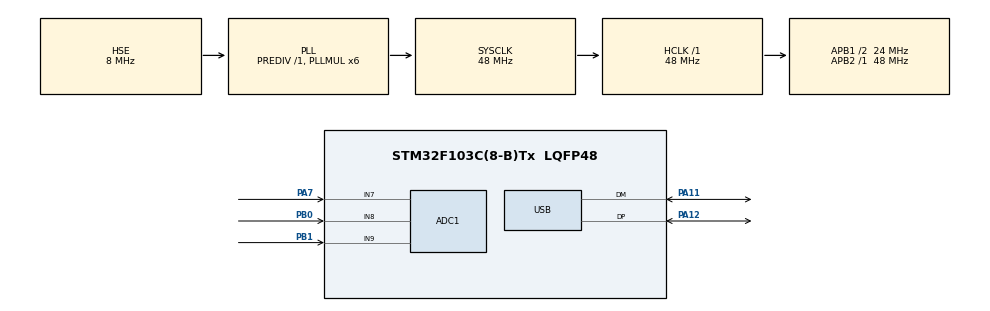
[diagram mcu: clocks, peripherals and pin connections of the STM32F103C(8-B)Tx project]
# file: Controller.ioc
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Mcu.Family=STM32F1
USB_DEVICE.CLASS_NAME_FS=HID
Dma.ADC1.0.Instance=DMA1_Channel1
ADC1.Rank-0\#ChannelRegularConversion=1
PD1-OSC_OUT.Mode=HSE-External-Oscillator
ADC1.ContinuousConvMode=ENABLE
USB_DEVICE.VirtualModeFS=Hid_FS
PA11.Mode=Device
PD0-OSC_IN.Signal=RCC_OSC_IN
RCC.APB1CLKDivider=RCC_HCLK_DIV2
ADC1.SamplingTime-2\#ChannelRegularConversion=ADC_SAMPLETIME_55CYCLES_5
RCC.SYSCLKSource=RCC_SYSCLKSOURCE_PLLCLK
ProjectManager.StackSize=0x400
PD1-OSC_OUT.Signal=RCC_OSC_OUT
RCC.ADCPresc=RCC_ADCPCLK2_DIV4
PA13.Signal=SYS_JTMS-SWDIO
Dma.ADC1.0.PeriphDataAlignment=DMA_PDATAALIGN_WORD
PA12.Signal=USB_DP
ProjectManager.TargetToolchain=STM32CubeIDE
Dma.ADC1.0.Mode=DMA_CIRCULAR
SH.ADCx_IN7.0=ADC1_IN7,IN7
RCC.HCLKFreq_Value=48000000
Dma.ADC1.0.Priority=DMA_PRIORITY_MEDIUM
RCC.APB2TimFreq_Value=48000000
ADC1.Channel-1\#ChannelRegularConversion=ADC_CHANNEL_8
Dma.ADC1.0.Direction=DMA_PERIPH_TO_MEMORY
ADC1.Channel-2\#ChannelRegularConversion=ADC_CHANNEL_9
RCC.USBFreq_Value=48000000
Dma.ADC1.0.MemDataAlignment=DMA_MDATAALIGN_WORD
RCC.AHBFreq_Value=48000000
PD0-OSC_IN.Mode=HSE-External-Oscillator
ADC1.Channel-0\#ChannelRegularConversion=ADC_CHANNEL_7
board=custom
RCC.PLLMUL=RCC_PLL_MUL6
VP_USB_DEVICE_VS_USB_DEVICE_HID_FS.Mode=HID_FS
RCC.APB2Freq_Value=48000000
ADC1.Rank-2\#ChannelRegularConversion=3
PA14.Mode=Serial_Wire
Dma.ADC1.0.PeriphInc=DMA_PINC_DISABLE
NVIC.USB_LP_CAN1_RX0_IRQn=true\:0\:0\:false\:false\:true\:false\:true
SH.ADCx_IN8.0=ADC1_IN8,IN8
ADC1.NbrOfConversion=3
PA13.Mode=Serial_Wire
Mcu.Name=STM32F103C(8-B)Tx
ADC1.SamplingTime-0\#ChannelRegularConversion=ADC_SAMPLETIME_55CYCLES_5
ADC1.SamplingTime-1\#ChannelRegularConversion=ADC_SAMPLETIME_55CYCLES_5
RCC.SYSCLKFreq_VALUE=48000000
Mcu.Package=LQFP48
PB1.Signal=ADCx_IN9
ADC1.master=1
PA12.Mode=Device
ADC1.Rank-1\#ChannelRegularConversion=2
PA11.Signal=USB_DM
PA14.Signal=SYS_JTCK-SWCLK
Dma.ADC1.0.MemInc=DMA_MINC_ENABLE
ProjectManager.HeapSize=0x200
SH.ADCx_IN9.0=ADC1_IN9,IN9
NVIC.PriorityGroup=NVIC_PRIORITYGROUP_4
ADC1.NbrOfConversionFlag=1
RCC.APB1TimFreq_Value=48000000
NVIC.DMA1_Channel1_IRQn=true\:0\:0\:false\:false\:true\:false\:true
Dma.Request0=ADC1
RCC.APB1Freq_Value=24000000
PB0.Signal=ADCx_IN8
USB_DEVICE.VirtualMode=Hid
PA7.Signal=ADCx_IN7

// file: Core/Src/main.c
/* USER CODE BEGIN Header */
/**
  ******************************************************************************
  * @file           : main.c
  * @brief          : Main program body
  ******************************************************************************
  * @attention
  *
  * <h2><center>&copy; Copyright (c) 2021 STMicroelectronics.
  * All rights reserved.</center></h2>
  *
  * This software component is licensed by ST under BSD 3-Clause license,
  * the "License"; You may not use this file except in compliance with the
  * License. You may obtain a copy of the License at:
  *                        opensource.org/licenses/BSD-3-Clause
  *
  ******************************************************************************
  */
/* USER CODE END Header */
#include "main.h"
#include "usb_device.h"
#include "usbd_hid.h"

ADC_HandleTypeDef hadc1;
DMA_HandleTypeDef hdma_adc1;

/* USER CODE BEGIN PV */
uint32_t adc_buffer[3];
uint32_t data[3];
extern USBD_HandleTypeDef hUsbDeviceFS;

struct gameHID_t {
	int8_t JoyX; 	// X 1 byte, signed value
	int8_t JoyY; 	// Y 1 byte, signed value
    int8_t JoyZ; 	// Y 1 byte, signed value
    int8_t JoyRx; 	// Y 1 byte, signed value
    int8_t JoyRy; 	// Y 1 byte, signed value
    int8_t JoyRz; 	// Y 1 byte, signed value
   };
struct gameHID_t gameHID;
/* USER CODE END PV */

void SystemClock_Config(void);
static void MX_GPIO_Init(void);
static void MX_DMA_Init(void);
static void MX_ADC1_Init(void);

/* USER CODE BEGIN 0 */
void HAL_ADC_ConvCpltCallback(ADC_HandleTypeDef* hadc)
{
	if(hadc->Instance == ADC1)
	{
		data[0] = adc_buffer[0];
		data[1] = adc_buffer[1];
		data[2] = adc_buffer[2];
	}
}
/* USER CODE END 0 */

int main(void)
{
  /* USER CODE BEGIN 1 */

  gameHID.JoyX = 0;
  gameHID.JoyY = 0; //ileri
  gameHID.JoyZ = 0;
  gameHID.JoyRx = 0; //sağ
  gameHID.JoyRy = 0; //ileri
  gameHID.JoyRz = 0;//Sol
  /* USER CODE END 1 */

  /* MCU Configuration--------------------------------------------------------*/

  /* Reset of all peripherals, Initializes the Flash interface and the Systick. */
  HAL_Init();

  /* Configure the system clock */
  SystemClock_Config();

  /* Initialize all configured peripherals */
  MX_GPIO_Init();
  MX_DMA_Init();
  MX_ADC1_Init();
  MX_USB_DEVICE_Init();
  /* USER CODE BEGIN 2 */
  HAL_ADC_Start_DMA(&hadc1, adc_buffer, 3);
  /* USER CODE END 2 */

  /* Infinite loop */
  while (1)
  {
	  if(adc_buffer[0] < 2012)
	  {
		  gameHID.JoyRx = 0;
		  gameHID.JoyRz =127 -  ((adc_buffer[0] - 0)*(127-0)/(2012-0) + 0);
	  }
	  else if(adc_buffer[0] > 2012)
	  {
		  gameHID.JoyRx = (((adc_buffer[0]-2012) - 0)*(127-0)/(2012-0) + 0);
	      gameHID.JoyRz = 0;
	  }
	  else
	  {
		  gameHID.JoyRx = 0;
		  gameHID.JoyRz = 0;
	  }
	  if(adc_buffer[1] > 2240)
		  gameHID.JoyRy = (adc_buffer[1]-2235)*(120-0)/(2620-2235) + 0;
	  if(adc_buffer[2] > 1745)
		  gameHID.JoyZ = (adc_buffer[2]-1730)*(120-0)/(2090-1730) + 0;
	  USBD_HID_SendReport(&hUsbDeviceFS, (uint8_t*) &gameHID, sizeof(struct gameHID_t));
	  HAL_Delay(20);
  }
}

void SystemClock_Config(void)
{
  RCC_OscInitTypeDef RCC_OscInitStruct = {0};
  RCC_ClkInitTypeDef RCC_ClkInitStruct = {0};
  RCC_PeriphCLKInitTypeDef PeriphClkInit = {0};

  /** Initializes the RCC Oscillators according to the specified parameters
  * in the RCC_OscInitTypeDef structure.
  */
  RCC_OscInitStruct.OscillatorType = RCC_OSCILLATORTYPE_HSE;
  RCC_OscInitStruct.HSEState = RCC_HSE_ON;
  RCC_OscInitStruct.HSEPredivValue = RCC_HSE_PREDIV_DIV1;
  RCC_OscInitStruct.HSIState = RCC_HSI_ON;
  RCC_OscInitStruct.PLL.PLLState = RCC_PLL_ON;
  RCC_OscInitStruct.PLL.PLLSource = RCC_PLLSOURCE_HSE;
  RCC_OscInitStruct.PLL.PLLMUL = RCC_PLL_MUL6;
  if (HAL_RCC_OscConfig(&RCC_OscInitStruct) != HAL_OK)
  {
    Error_Handler();
  }
  /** Initializes the CPU, AHB and APB buses clocks
  */
  RCC_ClkInitStruct.ClockType = RCC_CLOCKTYPE_HCLK|RCC_CLOCKTYPE_SYSCLK
                              |RCC_CLOCKTYPE_PCLK1|RCC_CLOCKTYPE_PCLK2;
  RCC_ClkInitStruct.SYSCLKSource = RCC_SYSCLKSOURCE_PLLCLK;
  RCC_ClkInitStruct.AHBCLKDivider = RCC_SYSCLK_DIV1;
  RCC_ClkInitStruct.APB1CLKDivider = RCC_HCLK_DIV2;
  RCC_ClkInitStruct.APB2CLKDivider = RCC_HCLK_DIV1;

  if (HAL_RCC_ClockConfig(&RCC_ClkInitStruct, FLASH_LATENCY_1) != HAL_OK)
  {
    Error_Handler();
  }
  PeriphClkInit.PeriphClockSelection = RCC_PERIPHCLK_ADC|RCC_PERIPHCLK_USB;
  PeriphClkInit.AdcClockSelection = RCC_ADCPCLK2_DIV4;
  PeriphClkInit.UsbClockSelection = RCC_USBCLKSOURCE_PLL;
  if (HAL_RCCEx_PeriphCLKConfig(&PeriphClkInit) != HAL_OK)
  {
    Error_Handler();
  }
}

static void MX_ADC1_Init(void)
{

  ADC_ChannelConfTypeDef sConfig = {0};

  /** Common config
  */
  hadc1.Instance = ADC1;
  hadc1.Init.ScanConvMode = ADC_SCAN_ENABLE;
  hadc1.Init.ContinuousConvMode = ENABLE;
  hadc1.Init.DiscontinuousConvMode = DISABLE;
  hadc1.Init.ExternalTrigConv = ADC_SOFTWARE_START;
  hadc1.Init.DataAlign = ADC_DATAALIGN_RIGHT;
  hadc1.Init.NbrOfConversion = 3;
  if (HAL_ADC_Init(&hadc1) != HAL_OK)
  {
    Error_Handler();
  }
  /** Configure Regular Channel
  */
  sConfig.Channel = ADC_CHANNEL_7;
  sConfig.Rank = ADC_REGULAR_RANK_1;
  sConfig.SamplingTime = ADC_SAMPLETIME_55CYCLES_5;
  if (HAL_ADC_ConfigChannel(&hadc1, &sConfig) != HAL_OK)
  {
    Error_Handler();
  }
  /** Configure Regular Channel
  */
  sConfig.Channel = ADC_CHANNEL_8;
  sConfig.Rank = ADC_REGULAR_RANK_2;
  if (HAL_ADC_ConfigChannel(&hadc1, &sConfig) != HAL_OK)
  {
    Error_Handler();
  }
  /** Configure Regular Channel
  */
  sConfig.Channel = ADC_CHANNEL_9;
  sConfig.Rank = ADC_REGULAR_RANK_3;
  if (HAL_ADC_ConfigChannel(&hadc1, &sConfig) != HAL_OK)
  {
    Error_Handler();
  }

}

static void MX_DMA_Init(void)
{

  /* DMA controller clock enable */
  __HAL_RCC_DMA1_CLK_ENABLE();

  /* DMA interrupt init */
  /* DMA1_Channel1_IRQn interrupt configuration */
  HAL_NVIC_SetPriority(DMA1_Channel1_IRQn, 0, 0);
  HAL_NVIC_EnableIRQ(DMA1_Channel1_IRQn);

}

static void MX_GPIO_Init(void)
{

  /* GPIO Ports Clock Enable */
  __HAL_RCC_GPIOD_CLK_ENABLE();
  __HAL_RCC_GPIOA_CLK_ENABLE();
  __HAL_RCC_GPIOB_CLK_ENABLE();

}

void Error_Handler(void)
{
  __disable_irq();
  while (1)
  {
  }
}

/************************ (C) COPYRIGHT STMicroelectronics *****END OF FILE****/
